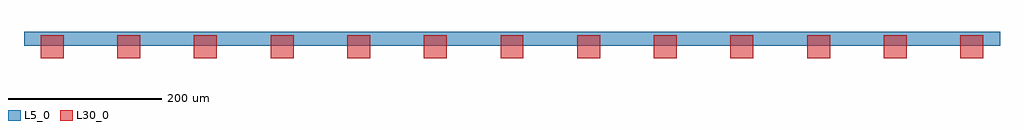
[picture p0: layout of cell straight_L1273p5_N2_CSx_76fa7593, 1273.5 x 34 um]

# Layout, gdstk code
import gdstk
lib = gdstk.Library(unit=1e-6, precision=1e-09)
def R(c, l, rs):  # rectangles x0, y0, x1, y1
    for r in rs: c.add(gdstk.rectangle(r[:2], r[2:], *l))
L5_0 = (5, 0)
L30_0 = (30, 0)

rectangle_s30_30_l30_0__ = lib.new_cell('rectangle_S30_30_L30_0__e540239d')
R(rectangle_s30_30_l30_0__, L30_0, [(-15,-15,15,15)])

unnamed_59 = lib.new_cell('Unnamed_59')
unnamed_59.add(gdstk.Reference(rectangle_s30_30_l30_0__, (36.75,-10)))
unnamed_59.add(gdstk.Reference(rectangle_s30_30_l30_0__, (136.75,-10)))
unnamed_59.add(gdstk.Reference(rectangle_s30_30_l30_0__, (236.75,-10)))
unnamed_59.add(gdstk.Reference(rectangle_s30_30_l30_0__, (336.75,-10)))
unnamed_59.add(gdstk.Reference(rectangle_s30_30_l30_0__, (436.75,-10)))
unnamed_59.add(gdstk.Reference(rectangle_s30_30_l30_0__, (536.75,-10)))
unnamed_59.add(gdstk.Reference(rectangle_s30_30_l30_0__, (636.75,-10)))
unnamed_59.add(gdstk.Reference(rectangle_s30_30_l30_0__, (736.75,-10)))
unnamed_59.add(gdstk.Reference(rectangle_s30_30_l30_0__, (836.75,-10)))
unnamed_59.add(gdstk.Reference(rectangle_s30_30_l30_0__, (936.75,-10)))
unnamed_59.add(gdstk.Reference(rectangle_s30_30_l30_0__, (1036.75,-10)))
unnamed_59.add(gdstk.Reference(rectangle_s30_30_l30_0__, (1136.75,-10)))
unnamed_59.add(gdstk.Reference(rectangle_s30_30_l30_0__, (1236.75,-10)))

straight_l1273p5_n2_csx_ = lib.new_cell('straight_L1273p5_N2_CSx_76fa7593')
R(straight_l1273p5_n2_csx_, L5_0, [(0,-9,1273.5,9)])
straight_l1273p5_n2_csx_.add(gdstk.Reference(unnamed_59, (0,0)))

lib.write_gds('straight_L1273p5_N2_CSx_76fa7593.gds')
